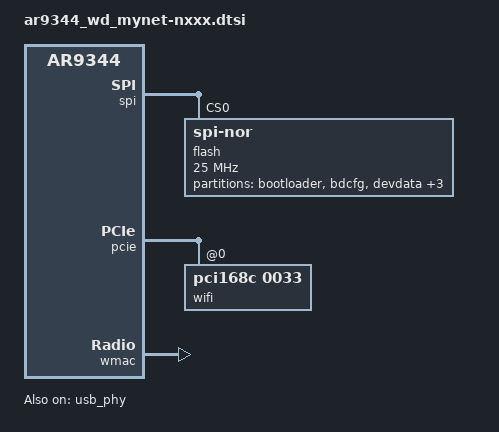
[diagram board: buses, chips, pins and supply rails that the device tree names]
// SPDX-License-Identifier: GPL-2.0-or-later OR MIT

#include "ar9344.dtsi"

#include <dt-bindings/gpio/gpio.h>
#include <dt-bindings/input/input.h>

/ {
	chosen {
		bootargs = "console=ttyS0,115200n8";
	};
};

&ref {
	clock-frequency = <40000000>;
};

&spi {
	status = "okay";

	flash@0 {
		compatible = "jedec,spi-nor";
		reg = <0>;
		spi-max-frequency = <25000000>;

		partitions {
			compatible = "fixed-partitions";
			#address-cells = <1>;
			#size-cells = <1>;

			partition@0 {
				label = "bootloader";
				reg = <0x000000 0x040000>;
				read-only;
			};

			partition@40000 {
				label = "bdcfg";
				reg = <0x040000 0x010000>;
				read-only;
			};

			partition@50000 {
				label = "devdata";
				reg = <0x050000 0x010000>;
				read-only;
			};

			partition@60000 {
				label = "devconf";
				reg = <0x060000 0x010000>;
				read-only;
			};

			partition@70000 {
				compatible = "seama";
				label = "firmware";
				reg = <0x070000 0xf80000>;
			};

			art: partition@ff0000 {
				label = "art";
				reg = <0xff0000 0x010000>;
				read-only;
			};
		};
	};
};

&usb_phy {
	status = "okay";
};

&pcie {
	status = "okay";

	wifi@0,0 {
		compatible = "pci168c,0033";
		reg = <0x0000 0 0 0 0>;
		qca,no-eeprom;
	};
};

&wmac {
	status = "okay";

	qca,no-eeprom;
};
